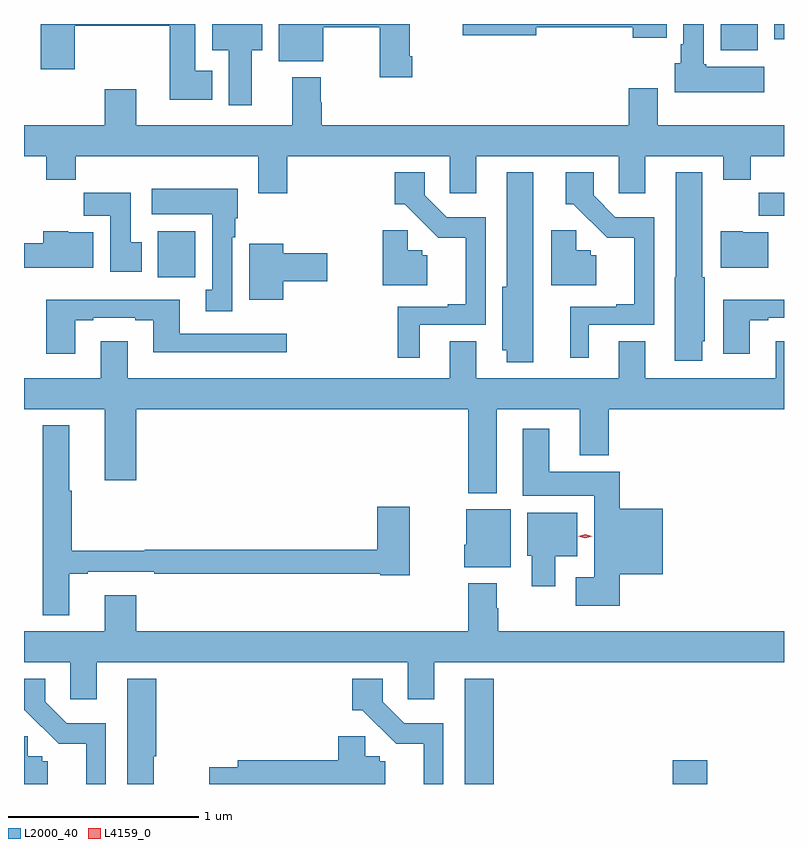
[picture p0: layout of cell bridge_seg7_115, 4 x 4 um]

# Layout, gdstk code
import gdstk
lib = gdstk.Library(unit=1e-6, precision=1e-09)
def R(c, l, rs):  # rectangles x0, y0, x1, y1
    for r in rs: c.add(gdstk.rectangle(r[:2], r[2:], *l))
def P(c, l, *ps):  # polygons
    for p in ps: c.add(gdstk.Polygon(p, *l))
L2000_40 = (2000, 40)
L4159_0 = (4159, 0)

bridge_seg7_115 = lib.new_cell('bridge_seg7_115')
R(bridge_seg7_115, L2000_40, [(754.313,1007.968,754.466,1008.523), (755.408,1007.968,755.591,1008.094), (752.699,1010.636,752.896,1010.878), (755.86,1010.96,755.994,1011.079), (755.66,1011.83,755.857,1011.968), (755.942,1011.889,755.994,1011.968)])
P(bridge_seg7_115, L2000_40, [(755.89,1011.742),(755.586,1011.742),(755.586,1011.756),(755.572,1011.756),(755.572,1011.968),(755.465,1011.968),(755.465,1011.862),(755.45,1011.862),(755.45,1011.762),(755.42,1011.762),(755.42,1011.608),(755.89,1011.608)],
  [(754.037,1011.799),(754.024,1011.799),(754.024,1011.968),(753.335,1011.968),(753.335,1011.773),(753.568,1011.773),(753.568,1011.952),(753.866,1011.952),(753.866,1011.687),(754.037,1011.687)],
  [(752.986,1011.721),(752.896,1011.721),(752.896,1011.968),(752.083,1011.968),(752.083,1011.729),(752.261,1011.729),(752.261,1011.96),(752.762,1011.96),(752.762,1011.569),(752.986,1011.569)],
  [(753.193,1011.83),(753.247,1011.83),(753.247,1011.968),(752.984,1011.968),(752.984,1011.83),(753.071,1011.83),(753.071,1011.54),(753.193,1011.54)],
  [(755.377,1011.968),(754.302,1011.968),(754.302,1011.91),(754.69,1011.91),(754.69,1011.952),(755.198,1011.952),(755.198,1011.896),(755.377,1011.896)],
  [(753.38,1011.272),(754.236,1011.272),(754.236,1011.078),(754.375,1011.078),(754.375,1011.272),(755.124,1011.272),(755.124,1011.078),(755.263,1011.078),(755.263,1011.272),(755.675,1011.272),(755.675,1011.148),(755.819,1011.148),(755.819,1011.272),(755.994,1011.272),(755.994,1011.436),(755.329,1011.436),(755.329,1011.631),(755.177,1011.631),(755.177,1011.436),(753.56,1011.436),(753.56,1011.557),(753.555,1011.557),(753.555,1011.688),(753.407,1011.688),(753.407,1011.436),(752.584,1011.436),(752.584,1011.625),(752.42,1011.625),(752.42,1011.436),(751.994,1011.436),(751.994,1011.272),(752.111,1011.272),(752.111,1011.148),(752.267,1011.148),(752.267,1011.272),(753.227,1011.272),(753.227,1011.078),(753.38,1011.078)],
  [(754.966,1010.385),(755.311,1010.385),(755.311,1010.952),(755.106,1010.952),(754.992,1011.066),(754.992,1011.187),(754.844,1011.187),(754.844,1011.02),(754.885,1011.02),(755.063,1010.843),(755.207,1010.843),(755.207,1010.494),(755.111,1010.494),(755.111,1010.481),(754.868,1010.481),(754.868,1010.211),(754.966,1010.211)],
  [(754.675,1011.187),(754.535,1011.187),(754.535,1010.586),(754.511,1010.586),(754.511,1010.25),(754.535,1010.25),(754.535,1010.189),(754.675,1010.189)],
  [(754.078,1010.385),(754.423,1010.385),(754.423,1010.952),(754.218,1010.952),(754.104,1011.066),(754.104,1011.187),(753.944,1011.187),(753.944,1011.02),(753.997,1011.02),(754.175,1010.843),(754.319,1010.843),(754.319,1010.494),(754.223,1010.494),(754.223,1010.481),(753.961,1010.481),(753.961,1010.211),(754.078,1010.211)],
  [(755.563,1010.298),(755.578,1010.298),(755.578,1010.634),(755.563,1010.634),(755.563,1011.187),(755.423,1011.187),(755.423,1010.634),(755.42,1010.634),(755.42,1010.195),(755.563,1010.195)],
  [(753.091,1010.846),(753.106,1010.846),(753.106,1010.946),(753.118,1010.946),(753.118,1011.1),(752.667,1011.1),(752.667,1010.966),(752.984,1010.966),(752.984,1010.57),(752.951,1010.57),(752.951,1010.457),(753.091,1010.457)],
  [(752.614,1010.82),(752.557,1010.82),(752.557,1011.079),(752.308,1011.079),(752.308,1010.96),(752.447,1010.96),(752.447,1010.664),(752.614,1010.664)],
  [(755.005,1010.751),(754.977,1010.751),(754.977,1010.778),(754.901,1010.778),(754.901,1010.883),(754.769,1010.883),(754.769,1010.594),(755.005,1010.594)],
  [(754.117,1010.751),(754.089,1010.751),(754.089,1010.778),(754.013,1010.778),(754.013,1010.883),(753.881,1010.883),(753.881,1010.594),(754.117,1010.594)],
  [(752.359,1010.872),(752.226,1010.872),(752.226,1010.878),(752.096,1010.878),(752.096,1010.814),(751.994,1010.814),(751.994,1010.684),(752.359,1010.684)],
  [(755.911,1010.872),(755.778,1010.872),(755.778,1010.878),(755.66,1010.878),(755.66,1010.684),(755.911,1010.684)],
  [(753.358,1010.615),(753.589,1010.615),(753.589,1010.762),(753.358,1010.762),(753.358,1010.812),(753.179,1010.812),(753.179,1010.516),(753.358,1010.516)],
  [(755.815,1010.409),(755.911,1010.409),(755.911,1010.421),(755.994,1010.421),(755.994,1010.517),(755.907,1010.517),(755.907,1010.518),(755.675,1010.518),(755.675,1010.232),(755.815,1010.232)],
  [(752.263,1010.409),(752.359,1010.409),(752.359,1010.421),(752.579,1010.421),(752.579,1010.409),(752.675,1010.409),(752.675,1010.24),(753.376,1010.24),(753.376,1010.337),(752.815,1010.337),(752.815,1010.518),(752.111,1010.518),(752.111,1010.232),(752.263,1010.232)],
  [(754.483,1009.94),(754.919,1009.94),(754.919,1009.697),(755.072,1009.697),(755.072,1009.94),(755.994,1009.94),(755.994,1010.299),(755.951,1010.299),(755.951,1010.104),(755.263,1010.104),(755.263,1010.299),(755.123,1010.299),(755.123,1010.104),(754.375,1010.104),(754.375,1010.299),(754.235,1010.299),(754.235,1010.104),(752.539,1010.104),(752.539,1010.299),(752.399,1010.299),(752.399,1010.104),(751.994,1010.104),(751.994,1009.94),(752.42,1009.94),(752.42,1009.566),(752.584,1009.566),(752.584,1009.94),(754.331,1009.94),(754.331,1009.499),(754.483,1009.499)],
  [(752.233,1009.074),(752.329,1009.074),(752.329,1009.086),(752.68,1009.086),(752.68,1009.074),(753.87,1009.074),(753.87,1009.066),(754.024,1009.066),(754.024,1009.426),(753.854,1009.426),(753.854,1009.202),(752.629,1009.202),(752.629,1009.195),(752.246,1009.195),(752.246,1009.512),(752.233,1009.512),(752.233,1009.855),(752.093,1009.855),(752.093,1008.857),(752.233,1008.857)],
  [(755.129,1009.073),(755.356,1009.073),(755.356,1009.417),(755.129,1009.417),(755.129,1009.612),(754.759,1009.612),(754.759,1009.837),(754.619,1009.837),(754.619,1009.484),(754.994,1009.484),(754.994,1009.057),(754.899,1009.057),(754.899,1008.905),(755.129,1008.905)],
  [(754.555,1009.414),(754.322,1009.414),(754.322,1009.227),(754.31,1009.227),(754.31,1009.109),(754.555,1009.109)],
  [(754.789,1009.166),(754.906,1009.166),(754.906,1009.396),(754.643,1009.396),(754.643,1009.17),(754.667,1009.17),(754.667,1009.008),(754.789,1009.008)],
  [(752.377,1008.608),(754.014,1008.608),(754.014,1008.414),(754.153,1008.414),(754.153,1008.608),(755.994,1008.608),(755.994,1008.772),(754.491,1008.772),(754.491,1008.893),(754.483,1008.893),(754.483,1009.024),(754.331,1009.024),(754.331,1008.772),(752.584,1008.772),(752.584,1008.961),(752.42,1008.961),(752.42,1008.772),(751.994,1008.772),(751.994,1008.608),(752.238,1008.608),(752.238,1008.414),(752.377,1008.414)],
  [(752.677,1008.113),(752.69,1008.113),(752.69,1008.523),(752.537,1008.523),(752.537,1007.968),(752.677,1007.968)],
  [(752.425,1008.288),(752.22,1008.288),(752.106,1008.402),(752.106,1008.523),(751.994,1008.523),(751.994,1008.356),(751.999,1008.356),(752.177,1008.179),(752.321,1008.179),(752.321,1007.968),(752.425,1007.968)],
  [(754.201,1008.288),(753.996,1008.288),(753.882,1008.402),(753.882,1008.523),(753.722,1008.523),(753.722,1008.356),(753.775,1008.356),(753.953,1008.179),(754.097,1008.179),(754.097,1007.968),(754.201,1007.968)],
  [(753.895,1008.087),(753.867,1008.087),(753.867,1008.114),(753.791,1008.114),(753.791,1008.219),(753.647,1008.219),(753.647,1008.092),(753.119,1008.092),(753.119,1008.056),(752.97,1008.056),(752.97,1007.968),(753.895,1007.968)],
  [(752.119,1008.087),(752.091,1008.087),(752.091,1008.114),(752.015,1008.114),(752.015,1008.219),(751.994,1008.219),(751.994,1007.968),(752.119,1007.968)])
P(bridge_seg7_115, L4159_0, [(754.949,1009.262),(754.912,1009.272),(754.912,1009.273),(754.912,1009.273),(754.949,1009.282),(754.986,1009.271),(754.986,1009.271),(754.986,1009.271)])

lib.write_gds('bridge_seg7_115.gds')
